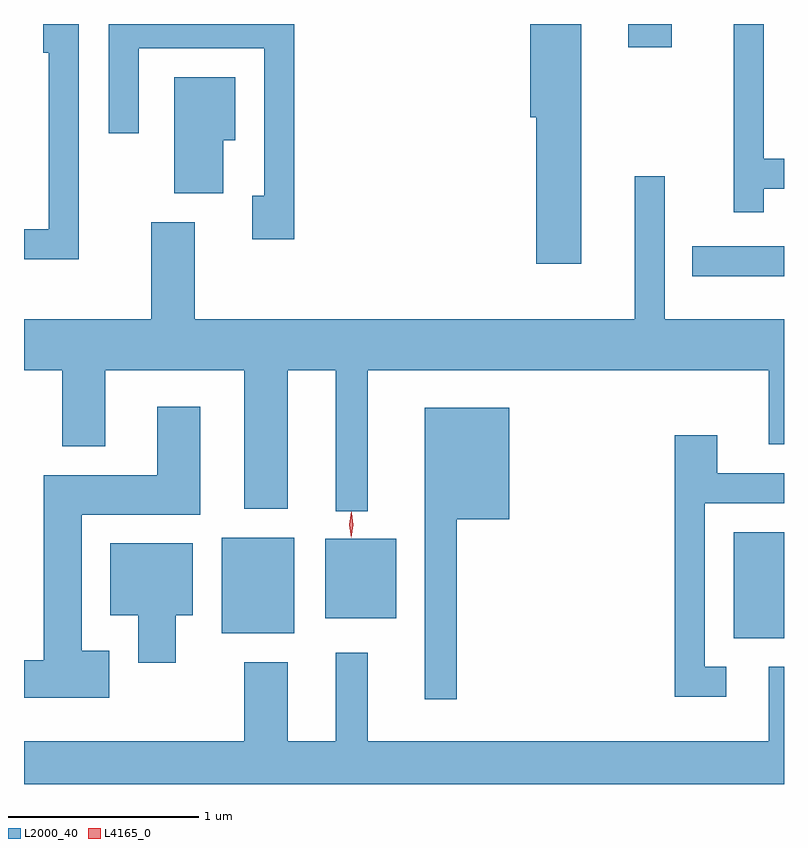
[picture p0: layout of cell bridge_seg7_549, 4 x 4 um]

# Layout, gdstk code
import gdstk
lib = gdstk.Library(unit=1e-6, precision=1e-09)
def R(c, l, rs):  # rectangles x0, y0, x1, y1
    for r in rs: c.add(gdstk.rectangle(r[:2], r[2:], *l))
def P(c, l, *ps):  # polygons
    for p in ps: c.add(gdstk.Polygon(p, *l))
L2000_40 = (2000, 40)
L4165_0 = (4165, 0)

bridge_seg7_549 = lib.new_cell('bridge_seg7_549')
R(bridge_seg7_549, L2000_40, [(983.716,1752.866,983.981,1753.424), (981.021,1752.891,981.404,1753.394), (981.566,1752.971,981.939,1753.389), (983.498,1754.771,983.981,1754.929), (983.161,1755.976,983.389,1756.098)])
P(bridge_seg7_549, L2000_40, [(981.404,1756.098),(980.426,1756.098),(980.426,1755.523),(980.584,1755.523),(980.584,1755.971),(981.246,1755.971),(981.246,1755.194),(981.181,1755.194),(981.181,1754.966),(981.404,1754.966)],
  [(983.874,1755.231),(983.981,1755.231),(983.981,1755.389),(983.874,1755.389),(983.874,1756.098),(983.716,1756.098),(983.716,1755.108),(983.874,1755.108)],
  [(982.914,1756.098),(982.646,1756.098),(982.646,1755.606),(982.676,1755.606),(982.676,1754.836),(982.914,1754.836)],
  [(980.269,1756.098),(980.081,1756.098),(980.081,1755.946),(980.111,1755.946),(980.111,1755.019),(979.981,1755.019),(979.981,1754.861),(980.269,1754.861)],
  [(981.029,1755.486),(981.094,1755.486),(981.094,1755.819),(980.771,1755.819),(980.771,1755.206),(981.029,1755.206)],
  [(981.789,1754.276),(983.901,1754.276),(983.901,1753.886),(983.981,1753.886),(983.981,1754.544),(983.354,1754.544),(983.354,1755.298),(983.196,1755.298),(983.196,1754.544),(980.879,1754.544),(980.879,1755.054),(980.651,1755.054),(980.651,1754.544),(979.981,1754.544),(979.981,1754.276),(980.181,1754.276),(980.181,1753.876),(980.409,1753.876),(980.409,1754.276),(981.141,1754.276),(981.141,1753.546),(981.369,1753.546),(981.369,1754.276),(981.621,1754.276),(981.621,1753.533),(981.789,1753.533)],
  [(980.429,1752.799),(980.284,1752.799),(980.284,1753.516),(980.909,1753.516),(980.909,1754.084),(980.681,1754.084),(980.681,1753.724),(980.086,1753.724),(980.086,1752.749),(979.981,1752.749),(979.981,1752.551),(980.429,1752.551)],
  [(982.259,1753.491),(982.534,1753.491),(982.534,1754.079),(982.091,1754.079),(982.091,1752.543),(982.259,1752.543)],
  [(983.678,1752.714),(983.564,1752.714),(983.564,1753.576),(983.981,1753.576),(983.981,1753.734),(983.629,1753.734),(983.629,1753.934),(983.406,1753.934),(983.406,1752.556),(983.678,1752.556)],
  [(980.779,1752.986),(980.869,1752.986),(980.869,1753.364),(980.436,1753.364),(980.436,1752.986),(980.581,1752.986),(980.581,1752.736),(980.779,1752.736)],
  [(983.981,1752.714),(983.901,1752.714),(983.901,1752.324),(981.789,1752.324),(981.789,1752.788),(981.621,1752.788),(981.621,1752.324),(981.369,1752.324),(981.369,1752.739),(981.141,1752.739),(981.141,1752.324),(979.981,1752.324),(979.981,1752.098),(983.981,1752.098)])
P(bridge_seg7_549, L4165_0, [(981.703,1753.394),(981.694,1753.462),(981.703,1753.53),(981.704,1753.53),(981.704,1753.53),(981.714,1753.462),(981.704,1753.394),(981.704,1753.394)],
  [(981.704,1753.398),(981.703,1753.399),(981.694,1753.463),(981.704,1753.526),(981.705,1753.527),(981.705,1753.526),(981.714,1753.462),(981.704,1753.399)])

lib.write_gds('bridge_seg7_549.gds')
